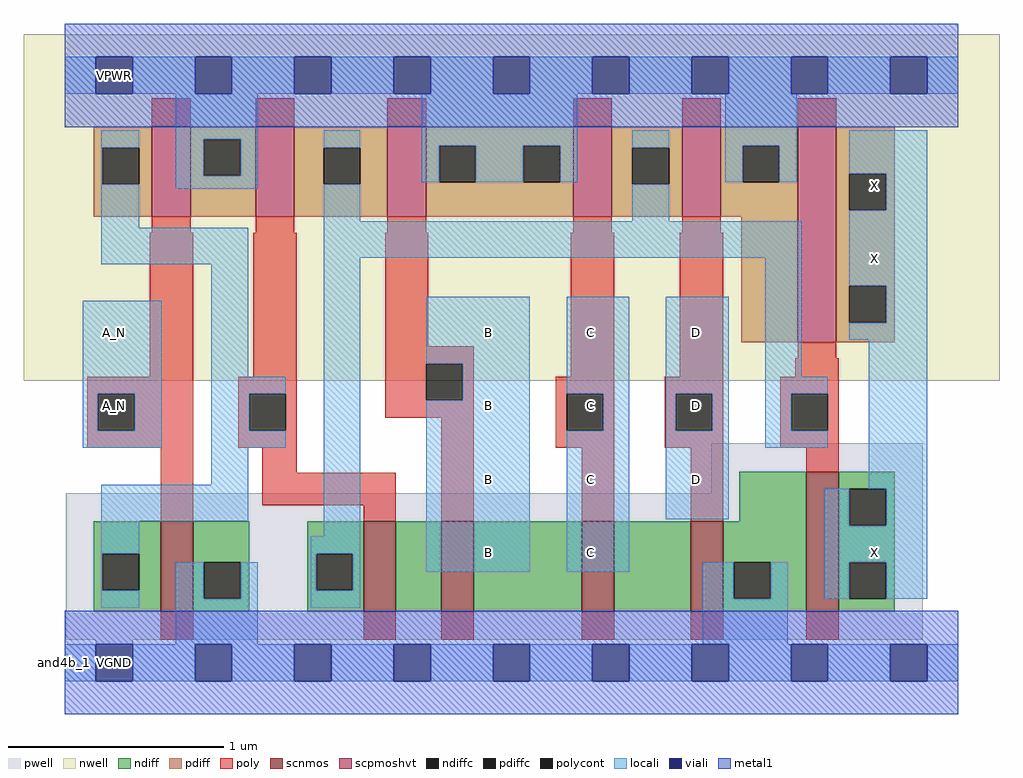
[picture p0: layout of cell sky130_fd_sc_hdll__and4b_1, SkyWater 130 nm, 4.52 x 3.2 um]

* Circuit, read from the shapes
.subckt sky130_fd_sc_hdll__and4b_1 A_N B C D VGND VNB VPB VPWR X
XM1 VGND A_N n1 VNB sky130_fd_pr__nfet_01v8 w=0.42 l=0.15
XM2 n2 n1 n3 VNB sky130_fd_pr__nfet_01v8 w=0.42 l=0.15
XM3 n4 B n2 VNB sky130_fd_pr__nfet_01v8 w=0.42 l=0.15
XM4 n5 C n4 VNB sky130_fd_pr__nfet_01v8 w=0.42 l=0.15
XM5 VGND D n5 VNB sky130_fd_pr__nfet_01v8 w=0.42 l=0.15
XM6 X n3 VGND VNB sky130_fd_pr__nfet_01v8 w=0.65 l=0.15
XM7 VPWR A_N n1 VPB sky130_fd_pr__pfet_01v8_hvt w=0.42 l=0.18
XM8 n3 n1 VPWR VPB sky130_fd_pr__pfet_01v8_hvt w=0.42 l=0.18
XM9 VPWR B n3 VPB sky130_fd_pr__pfet_01v8_hvt w=0.42 l=0.18
XM10 n3 C VPWR VPB sky130_fd_pr__pfet_01v8_hvt w=0.42 l=0.18
XM11 VPWR D n3 VPB sky130_fd_pr__pfet_01v8_hvt w=0.42 l=0.18
XM12 X n3 VPWR VPB sky130_fd_pr__pfet_01v8_hvt w=1 l=0.18
.ends

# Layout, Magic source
magic
tech sky130A
magscale 1 2
<< nwell >>
rect -38 261 866 582
<< pwell >>
rect 599 157 795 203
rect 1 21 795 157
rect 29 -17 63 21
<< scnmos >>
rect 89 47 119 131
rect 277 47 307 131
rect 349 47 379 131
rect 479 47 509 131
rect 580 47 610 131
rect 687 47 717 177
<< scpmoshvt >>
rect 81 413 117 497
rect 177 413 213 497
rect 299 413 335 497
rect 471 413 507 497
rect 572 413 608 497
rect 679 297 715 497
<< ndiff >>
rect 625 131 687 177
rect 27 101 89 131
rect 27 67 35 101
rect 69 67 89 101
rect 27 47 89 67
rect 119 93 171 131
rect 119 59 129 93
rect 163 59 171 93
rect 119 47 171 59
rect 225 101 277 131
rect 225 67 233 101
rect 267 67 277 101
rect 225 47 277 67
rect 307 47 349 131
rect 379 47 479 131
rect 509 47 580 131
rect 610 93 687 131
rect 610 59 620 93
rect 654 59 687 93
rect 610 47 687 59
rect 717 161 769 177
rect 717 127 727 161
rect 761 127 769 161
rect 717 93 769 127
rect 717 59 727 93
rect 761 59 769 93
rect 717 47 769 59
<< pdiff >>
rect 27 477 81 497
rect 27 443 35 477
rect 69 443 81 477
rect 27 413 81 443
rect 117 485 177 497
rect 117 451 129 485
rect 163 451 177 485
rect 117 413 177 451
rect 213 477 299 497
rect 213 443 240 477
rect 274 443 299 477
rect 213 413 299 443
rect 335 479 471 497
rect 335 445 347 479
rect 381 445 425 479
rect 459 445 471 479
rect 335 413 471 445
rect 507 477 572 497
rect 507 443 526 477
rect 560 443 572 477
rect 507 413 572 443
rect 608 479 679 497
rect 608 445 628 479
rect 662 445 679 479
rect 608 413 679 445
rect 627 297 679 413
rect 715 453 769 497
rect 715 419 727 453
rect 761 419 769 453
rect 715 349 769 419
rect 715 315 727 349
rect 761 315 769 349
rect 715 297 769 315
<< ndiffc >>
rect 35 67 69 101
rect 129 59 163 93
rect 233 67 267 101
rect 620 59 654 93
rect 727 127 761 161
rect 727 59 761 93
<< pdiffc >>
rect 35 443 69 477
rect 129 451 163 485
rect 240 443 274 477
rect 347 445 381 479
rect 425 445 459 479
rect 526 443 560 477
rect 628 445 662 479
rect 727 419 761 453
rect 727 315 761 349
<< poly >>
rect 81 497 117 523
rect 177 497 213 523
rect 299 497 335 523
rect 471 497 507 523
rect 572 497 608 523
rect 679 497 715 523
rect 81 398 117 413
rect 177 398 213 413
rect 299 398 335 413
rect 471 398 507 413
rect 572 398 608 413
rect 79 265 119 398
rect 175 265 215 398
rect 21 249 119 265
rect 21 215 31 249
rect 65 215 119 249
rect 21 199 119 215
rect 161 249 215 265
rect 161 215 171 249
rect 205 215 215 249
rect 297 293 337 398
rect 297 277 379 293
rect 297 243 335 277
rect 369 243 379 277
rect 469 265 509 398
rect 570 265 610 398
rect 679 282 715 297
rect 677 265 717 282
rect 297 227 379 243
rect 161 199 215 215
rect 89 131 119 199
rect 183 176 215 199
rect 183 146 307 176
rect 277 131 307 146
rect 349 131 379 227
rect 455 249 509 265
rect 455 215 465 249
rect 499 215 509 249
rect 455 199 509 215
rect 556 249 610 265
rect 556 215 566 249
rect 600 215 610 249
rect 556 199 610 215
rect 663 249 717 265
rect 663 215 673 249
rect 707 215 717 249
rect 663 199 717 215
rect 479 131 509 199
rect 580 131 610 199
rect 687 177 717 199
rect 89 21 119 47
rect 277 21 307 47
rect 349 21 379 47
rect 479 21 509 47
rect 580 21 610 47
rect 687 21 717 47
<< polycont >>
rect 31 215 65 249
rect 171 215 205 249
rect 335 243 369 277
rect 465 215 499 249
rect 566 215 600 249
rect 673 215 707 249
<< locali >>
rect 0 527 29 561
rect 63 527 121 561
rect 155 527 213 561
rect 247 527 305 561
rect 339 527 397 561
rect 431 527 489 561
rect 523 527 581 561
rect 615 527 673 561
rect 707 527 765 561
rect 799 527 828 561
rect 34 477 69 493
rect 34 443 35 477
rect 34 403 69 443
rect 103 485 179 527
rect 103 451 129 485
rect 163 451 179 485
rect 103 439 179 451
rect 240 477 274 493
rect 331 479 475 527
rect 331 445 347 479
rect 381 445 425 479
rect 459 445 475 479
rect 526 477 560 493
rect 240 409 274 443
rect 612 479 678 527
rect 612 445 628 479
rect 662 445 678 479
rect 727 453 799 493
rect 526 409 560 443
rect 761 419 799 453
rect 34 369 170 403
rect 17 249 90 335
rect 17 215 31 249
rect 65 215 90 249
rect 17 199 90 215
rect 136 265 170 369
rect 240 375 683 409
rect 136 249 205 265
rect 136 215 171 249
rect 136 199 205 215
rect 136 165 170 199
rect 34 131 170 165
rect 34 101 69 131
rect 240 117 274 375
rect 34 67 35 101
rect 228 101 274 117
rect 34 51 69 67
rect 103 59 129 93
rect 163 59 179 93
rect 103 17 179 59
rect 228 67 233 101
rect 267 67 274 101
rect 335 277 431 339
rect 369 243 431 277
rect 335 84 431 243
rect 465 249 523 339
rect 499 215 523 249
rect 465 84 523 215
rect 557 249 615 339
rect 557 215 566 249
rect 600 215 615 249
rect 557 133 615 215
rect 649 265 683 375
rect 727 349 799 419
rect 761 315 799 349
rect 727 299 799 315
rect 649 249 707 265
rect 649 215 673 249
rect 649 199 707 215
rect 745 161 799 299
rect 704 127 727 161
rect 761 127 799 161
rect 704 93 799 127
rect 228 51 274 67
rect 591 59 620 93
rect 654 59 670 93
rect 704 59 727 93
rect 761 59 799 93
rect 591 17 670 59
rect 0 -17 29 17
rect 63 -17 121 17
rect 155 -17 213 17
rect 247 -17 305 17
rect 339 -17 397 17
rect 431 -17 489 17
rect 523 -17 581 17
rect 615 -17 673 17
rect 707 -17 765 17
rect 799 -17 828 17
<< viali >>
rect 29 527 63 561
rect 121 527 155 561
rect 213 527 247 561
rect 305 527 339 561
rect 397 527 431 561
rect 489 527 523 561
rect 581 527 615 561
rect 673 527 707 561
rect 765 527 799 561
rect 29 -17 63 17
rect 121 -17 155 17
rect 213 -17 247 17
rect 305 -17 339 17
rect 397 -17 431 17
rect 489 -17 523 17
rect 581 -17 615 17
rect 673 -17 707 17
rect 765 -17 799 17
<< metal1 >>
rect 0 561 828 592
rect 0 527 29 561
rect 63 527 121 561
rect 155 527 213 561
rect 247 527 305 561
rect 339 527 397 561
rect 431 527 489 561
rect 523 527 581 561
rect 615 527 673 561
rect 707 527 765 561
rect 799 527 828 561
rect 0 496 828 527
rect 0 17 828 48
rect 0 -17 29 17
rect 63 -17 121 17
rect 155 -17 213 17
rect 247 -17 305 17
rect 339 -17 397 17
rect 431 -17 489 17
rect 523 -17 581 17
rect 615 -17 673 17
rect 707 -17 765 17
rect 799 -17 828 17
rect 0 -48 828 -17
<< labels >>
flabel metal1 s 29 -17 63 17 0 FreeSans 200 0 0 0 VGND
port 5 nsew ground bidirectional
flabel metal1 s 29 527 63 561 0 FreeSans 200 0 0 0 VPWR
port 8 nsew power bidirectional
flabel locali s 470 289 504 323 0 FreeSans 200 0 0 0 C
port 3 nsew signal input
flabel locali s 29 289 63 323 0 FreeSans 200 0 0 0 A_N
port 1 nsew signal input
flabel locali s 733 85 767 119 0 FreeSans 200 0 0 0 X
port 9 nsew signal output
flabel locali s 733 357 767 391 0 FreeSans 200 0 0 0 X
port 9 nsew signal output
flabel locali s 733 425 767 459 0 FreeSans 200 0 0 0 X
port 9 nsew signal output
flabel locali s 29 221 63 255 0 FreeSans 200 0 0 0 A_N
port 1 nsew signal input
flabel locali s 568 221 602 255 0 FreeSans 200 0 0 0 D
port 4 nsew signal input
flabel locali s 568 289 602 323 0 FreeSans 200 0 0 0 D
port 4 nsew signal input
flabel locali s 470 85 504 119 0 FreeSans 200 0 0 0 C
port 3 nsew signal input
flabel locali s 470 153 504 187 0 FreeSans 200 0 0 0 C
port 3 nsew signal input
flabel locali s 376 85 410 119 0 FreeSans 200 0 0 0 B
port 2 nsew signal input
flabel locali s 376 153 410 187 0 FreeSans 200 0 0 0 B
port 2 nsew signal input
flabel locali s 376 221 410 255 0 FreeSans 200 0 0 0 B
port 2 nsew signal input
flabel locali s 376 289 410 323 0 FreeSans 200 0 0 0 B
port 2 nsew signal input
flabel locali s 568 153 602 187 0 FreeSans 200 0 0 0 D
port 4 nsew signal input
flabel locali s 470 221 504 255 0 FreeSans 200 0 0 0 C
port 3 nsew signal input
flabel nwell s 29 527 63 561 0 FreeSans 200 0 0 0 VPB
port 7 nsew power bidirectional
flabel pwell s 29 -17 63 17 0 FreeSans 200 0 0 0 VNB
port 6 nsew ground bidirectional
rlabel comment s 0 0 0 0 4 and4b_1
<< properties >>
string LEFsite unithd
string LEFclass CORE
string FIXED_BBOX 0 0 828 544
string GDS_FILE $PDKPATH/libs.ref/sky130_fd_sc_hdll/gds/sky130_fd_sc_hdll.gds
string LEFsymmetry X Y R90
string GDS_END 1855390
string GDS_START 1847644
string LEFproperties maskLayoutSubType "abstract" prCellType "standard" originalViewName "layout"
<< end >>
